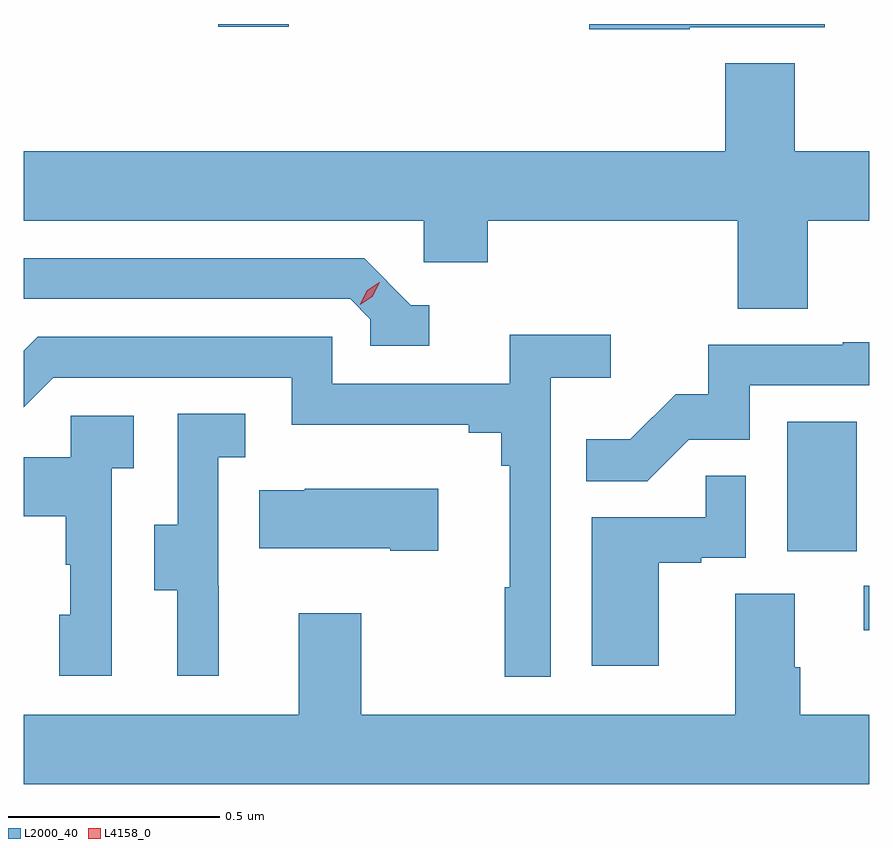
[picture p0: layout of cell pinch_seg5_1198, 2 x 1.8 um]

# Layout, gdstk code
import gdstk
lib = gdstk.Library(unit=1e-6, precision=1e-09)
def R(c, l, rs):  # rectangles x0, y0, x1, y1
    for r in rs: c.add(gdstk.rectangle(r[:2], r[2:], *l))
def P(c, l, *ps):  # polygons
    for p in ps: c.add(gdstk.Polygon(p, *l))
L2000_40 = (2000, 40)
L4158_0 = (4158, 0)

pinch_seg5_1198 = lib.new_cell('pinch_seg5_1198')
R(pinch_seg5_1198, L2000_40, [(842.421,835.812,842.434,835.917), (842.24,835.998,842.404,836.305), (840.894,837.238,841.061,837.245)])
P(pinch_seg5_1198, L2000_40, [(842.009,837.237),(842.328,837.237),(842.328,837.245),(841.771,837.245),(841.771,837.232),(842.009,837.232)],
  [(842.288,836.78),(842.434,836.78),(842.434,836.944),(842.258,836.944),(842.258,837.152),(842.093,837.152),(842.093,836.944),(840.434,836.944),(840.434,836.78),(841.38,836.78),(841.38,836.682),(841.532,836.682),(841.532,836.78),(842.123,836.78),(842.123,836.572),(842.288,836.572)],
  [(841.393,836.58),(841.35,836.58),(841.239,836.691),(840.434,836.691),(840.434,836.595),(841.206,836.595),(841.254,836.547),(841.254,836.484),(841.393,836.484)],
  [(841.68,836.408),(841.822,836.408),(841.822,836.51),(841.583,836.51),(841.583,836.394),(841.164,836.394),(841.164,836.505),(840.467,836.505),(840.434,836.472),(840.434,836.339),(840.504,836.409),(841.068,836.409),(841.068,836.297),(841.487,836.297),(841.487,836.278),(841.564,836.278),(841.564,836.201),(841.583,836.201),(841.583,835.913),(841.572,835.913),(841.572,835.701),(841.68,835.701)],
  [(842.007,836.262),(842.151,836.262),(842.151,836.391),(842.434,836.391),(842.434,836.492),(842.371,836.492),(842.371,836.487),(842.053,836.487),(842.053,836.37),(841.976,836.37),(841.869,836.263),(841.765,836.263),(841.765,836.164),(841.909,836.164)],
  [(840.896,835.917),(840.894,835.917),(840.894,836.221),(840.958,836.221),(840.958,836.324),(840.798,836.324),(840.798,836.061),(840.743,836.061),(840.743,835.906),(840.797,835.906),(840.797,835.704),(840.896,835.704)],
  [(840.642,836.195),(840.694,836.195),(840.694,836.319),(840.546,836.319),(840.546,836.221),(840.434,836.221),(840.434,836.081),(840.534,836.081),(840.534,835.967),(840.544,835.967),(840.544,835.848),(840.518,835.848),(840.518,835.704),(840.642,835.704)],
  [(841.936,835.971),(842.036,835.971),(842.036,835.983),(842.142,835.983),(842.142,836.177),(842.047,836.177),(842.047,836.079),(841.778,836.079),(841.778,835.728),(841.936,835.728)],
  [(841.414,836.146),(841.099,836.146),(841.099,836.143),(840.991,836.143),(840.991,836.006),(841.301,836.006),(841.301,835.999),(841.414,835.999)],
  [(842.434,835.612),(842.27,835.612),(842.27,835.724),(842.257,835.724),(842.257,835.898),(842.117,835.898),(842.117,835.612),(841.233,835.612),(841.233,835.852),(841.085,835.852),(841.085,835.612),(840.434,835.612),(840.434,835.448),(842.434,835.448)])
P(pinch_seg5_1198, L4158_0, [(841.23,836.581),(841.23,836.582),(841.245,836.614),(841.275,836.634),(841.276,836.634),(841.276,836.634),(841.26,836.601),(841.23,836.581)])

lib.write_gds('pinch_seg5_1198.gds')
